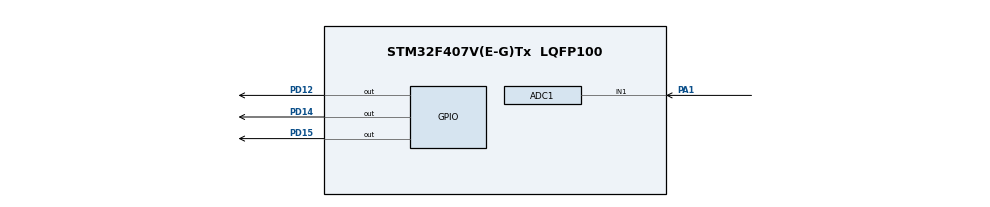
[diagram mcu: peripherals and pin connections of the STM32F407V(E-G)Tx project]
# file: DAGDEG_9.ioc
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ADC1.Channel-0\#ChannelRegularConversion=ADC_CHANNEL_1
ADC1.EnableAnalogWatchDog=true
ADC1.HighThreshold=200
ADC1.ITMode=ENABLE
ADC1.InjNumberOfConversion=0
ADC1.LowThreshold=50
ADC1.NbrOfConversion=1
ADC1.NbrOfConversionFlag=1
ADC1.Rank-0\#ChannelRegularConversion=1
ADC1.Resolution=ADC_RESOLUTION_8B
ADC1.SamplingTime-0\#ChannelRegularConversion=ADC_SAMPLETIME_28CYCLES
ADC1.WatchdogChannel=ADC_CHANNEL_1
ADC1.master=1
Mcu.Family=STM32F4
Mcu.Name=STM32F407V(E-G)Tx
Mcu.Package=LQFP100
NVIC.ADC_IRQn=true\:0\:0\:false\:true\:true\:1\:true\:true\:true
NVIC.PriorityGroup=NVIC_PRIORITYGROUP_0
PA1.Signal=ADCx_IN1
PD12.Signal=GPIO_Output
PD14.Signal=GPIO_Output
PD15.Signal=GPIO_Output
ProjectManager.HeapSize=0x200
ProjectManager.StackSize=0x400
ProjectManager.TargetToolchain=STM32CubeIDE
RCC.48MHZClocksFreq_Value=14285714.285714285
RCC.AHBFreq_Value=25000000
RCC.APB1CLKDivider=RCC_HCLK_DIV4
RCC.APB1Freq_Value=6250000
RCC.APB1TimFreq_Value=12500000
RCC.APB2CLKDivider=RCC_HCLK_DIV2
RCC.APB2Freq_Value=12500000
RCC.APB2TimFreq_Value=25000000
RCC.CortexFreq_Value=25000000
RCC.HCLKFreq_Value=25000000
RCC.HSE_VALUE=8000000
RCC.HSI_VALUE=16000000
RCC.LSE_VALUE=32768
RCC.PLLM=8
RCC.PLLN=50
RCC.PLLP=RCC_PLLP_DIV4
RCC.PLLQ=7
RCC.SYSCLKFreq_VALUE=25000000
RCC.SYSCLKSource=RCC_SYSCLKSOURCE_PLLCLK
RCC.VCOOutputFreq_Value=100000000
SH.ADCx_IN1.0=ADC1_IN1,IN1
board=STM32F407G-DISC1

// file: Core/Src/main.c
/* USER CODE BEGIN Header */
/**
 ******************************************************************************
 * @file           : main.c
 * @brief          : Main program body
 ******************************************************************************
 * @attention
 *
 * Copyright (c) 2025 STMicroelectronics.
 * All rights reserved.
 *
 * This software is licensed under terms that can be found in the LICENSE file
 * in the root directory of this software component.
 * If no LICENSE file comes with this software, it is provided AS-IS.
 *
 ******************************************************************************
 */
/* USER CODE END Header */
#include "main.h"

ADC_HandleTypeDef hadc1;

/* USER CODE BEGIN PV */
#define MAX 200
#define MIN 50
volatile uint8_t adcValue = 0;
/* USER CODE END PV */

void SystemClock_Config(void);
static void MX_GPIO_Init(void);
static void MX_ADC1_Init(void);
static void MX_NVIC_Init(void);
/* USER CODE BEGIN PFP */
volatile uint8_t state = 0;
/* USER CODE END PFP */

/* USER CODE BEGIN 0 */
void HAL_ADC_LevelOutOfWindowCallback(ADC_HandleTypeDef *hadc) {
	state = 1;

	/* USER CODE END 0 */
}
int main(void) {

	/* MCU Configuration--------------------------------------------------------*/

	/* Reset of all peripherals, Initializes the Flash interface and the Systick. */
	HAL_Init();

	/* Configure the system clock */
	SystemClock_Config();

	/* Initialize all configured peripherals */
	MX_GPIO_Init();
	MX_ADC1_Init();

	/* Initialize interrupts */
	MX_NVIC_Init();

	/* Infinite loop */
	/* USER CODE BEGIN WHILE */
	while (1) {
		HAL_ADC_Start(&hadc1);
		adcValue = HAL_ADC_GetValue(&hadc1);
		if (state == 1) {
			state = 0;
			if (adcValue < MIN) {
				// LED red is active when ADC value is under 50
				HAL_GPIO_WritePin(GPIOD, GPIO_PIN_12, GPIO_PIN_SET);
				HAL_GPIO_WritePin(GPIOD, GPIO_PIN_14, GPIO_PIN_RESET);
				HAL_GPIO_WritePin(GPIOD, GPIO_PIN_15, GPIO_PIN_RESET);
			} else if (adcValue > MAX) {
				// LED green is active when ADC value is over 200
				HAL_GPIO_WritePin(GPIOD, GPIO_PIN_12, GPIO_PIN_RESET);
				HAL_GPIO_WritePin(GPIOD, GPIO_PIN_14, GPIO_PIN_SET);
				HAL_GPIO_WritePin(GPIOD, GPIO_PIN_15, GPIO_PIN_RESET);
			}
		}
		else {
			if (adcValue < MAX && adcValue > MIN) {
				HAL_GPIO_WritePin(GPIOD, GPIO_PIN_12, GPIO_PIN_RESET);
				HAL_GPIO_WritePin(GPIOD, GPIO_PIN_14, GPIO_PIN_RESET);
				HAL_GPIO_WritePin(GPIOD, GPIO_PIN_15, GPIO_PIN_SET);
				// LED blue is active when ADC value is between 50 and 200
			}
			/* USER CODE END WHILE */

		}
	}
}

	/**
	 * @brief System Clock Configuration
	 * @retval None
	 */
	void SystemClock_Config(void) {
		RCC_OscInitTypeDef RCC_OscInitStruct = { 0 };
		RCC_ClkInitTypeDef RCC_ClkInitStruct = { 0 };

		/** Configure the main internal regulator output voltage
		 */
		__HAL_RCC_PWR_CLK_ENABLE();
		__HAL_PWR_VOLTAGESCALING_CONFIG(PWR_REGULATOR_VOLTAGE_SCALE1);

		/** Initializes the RCC Oscillators according to the specified parameters
		 * in the RCC_OscInitTypeDef structure.
		 */
		RCC_OscInitStruct.OscillatorType = RCC_OSCILLATORTYPE_HSI;
		RCC_OscInitStruct.HSIState = RCC_HSI_ON;
		RCC_OscInitStruct.HSICalibrationValue = RCC_HSICALIBRATION_DEFAULT;
		RCC_OscInitStruct.PLL.PLLState = RCC_PLL_ON;
		RCC_OscInitStruct.PLL.PLLSource = RCC_PLLSOURCE_HSI;
		RCC_OscInitStruct.PLL.PLLM = 8;
		RCC_OscInitStruct.PLL.PLLN = 50;
		RCC_OscInitStruct.PLL.PLLP = RCC_PLLP_DIV4;
		RCC_OscInitStruct.PLL.PLLQ = 7;
		if (HAL_RCC_OscConfig(&RCC_OscInitStruct) != HAL_OK) {
			Error_Handler();
		}

		/** Initializes the CPU, AHB and APB buses clocks
		 */
		RCC_ClkInitStruct.ClockType = RCC_CLOCKTYPE_HCLK | RCC_CLOCKTYPE_SYSCLK
				| RCC_CLOCKTYPE_PCLK1 | RCC_CLOCKTYPE_PCLK2;
		RCC_ClkInitStruct.SYSCLKSource = RCC_SYSCLKSOURCE_PLLCLK;
		RCC_ClkInitStruct.AHBCLKDivider = RCC_SYSCLK_DIV1;
		RCC_ClkInitStruct.APB1CLKDivider = RCC_HCLK_DIV4;
		RCC_ClkInitStruct.APB2CLKDivider = RCC_HCLK_DIV2;

		if (HAL_RCC_ClockConfig(&RCC_ClkInitStruct, FLASH_LATENCY_0)
				!= HAL_OK) {
			Error_Handler();
		}
	}

	/**
	 * @brief NVIC Configuration.
	 * @retval None
	 */
	static void MX_NVIC_Init(void) {
		/* ADC_IRQn interrupt configuration */
		HAL_NVIC_SetPriority(ADC_IRQn, 0, 0);
		HAL_NVIC_EnableIRQ(ADC_IRQn);
	}

	/**
	 * @brief ADC1 Initialization Function
	 * @param None
	 * @retval None
	 */
	static void MX_ADC1_Init(void) {

		ADC_AnalogWDGConfTypeDef AnalogWDGConfig = { 0 };
		ADC_ChannelConfTypeDef sConfig = { 0 };

		/** Configure the global features of the ADC (Clock, Resolution, Data Alignment and number of conversion)
		 */
		hadc1.Instance = ADC1;
		hadc1.Init.ClockPrescaler = ADC_CLOCK_SYNC_PCLK_DIV2;
		hadc1.Init.Resolution = ADC_RESOLUTION_8B;
		hadc1.Init.ScanConvMode = DISABLE;
		hadc1.Init.ContinuousConvMode = DISABLE;
		hadc1.Init.DiscontinuousConvMode = DISABLE;
		hadc1.Init.ExternalTrigConvEdge = ADC_EXTERNALTRIGCONVEDGE_NONE;
		hadc1.Init.ExternalTrigConv = ADC_SOFTWARE_START;
		hadc1.Init.DataAlign = ADC_DATAALIGN_RIGHT;
		hadc1.Init.NbrOfConversion = 1;
		hadc1.Init.DMAContinuousRequests = DISABLE;
		hadc1.Init.EOCSelection = ADC_EOC_SINGLE_CONV;
		if (HAL_ADC_Init(&hadc1) != HAL_OK) {
			Error_Handler();
		}

		/** Configure the analog watchdog
		 */
		AnalogWDGConfig.WatchdogMode = ADC_ANALOGWATCHDOG_SINGLE_REG;
		AnalogWDGConfig.HighThreshold = 200;
		AnalogWDGConfig.LowThreshold = 50;
		AnalogWDGConfig.Channel = ADC_CHANNEL_1;
		AnalogWDGConfig.ITMode = ENABLE;
		if (HAL_ADC_AnalogWDGConfig(&hadc1, &AnalogWDGConfig) != HAL_OK) {
			Error_Handler();
		}

		/** Configure for the selected ADC regular channel its corresponding rank in the sequencer and its sample time.
		 */
		sConfig.Channel = ADC_CHANNEL_1;
		sConfig.Rank = 1;
		sConfig.SamplingTime = ADC_SAMPLETIME_28CYCLES;
		if (HAL_ADC_ConfigChannel(&hadc1, &sConfig) != HAL_OK) {
			Error_Handler();
		}

	}

	/**
	 * @brief GPIO Initialization Function
	 * @param None
	 * @retval None
	 */
	static void MX_GPIO_Init(void) {
		GPIO_InitTypeDef GPIO_InitStruct = { 0 };

		/* GPIO Ports Clock Enable */
		__HAL_RCC_GPIOA_CLK_ENABLE();
		__HAL_RCC_GPIOD_CLK_ENABLE();

		/*Configure GPIO pin Output Level */
		HAL_GPIO_WritePin(GPIOD, GPIO_PIN_12 | GPIO_PIN_14 | GPIO_PIN_15,
				GPIO_PIN_RESET);

		/*Configure GPIO pins : PD12 PD14 PD15 */
		GPIO_InitStruct.Pin = GPIO_PIN_12 | GPIO_PIN_14 | GPIO_PIN_15;
		GPIO_InitStruct.Mode = GPIO_MODE_OUTPUT_PP;
		GPIO_InitStruct.Pull = GPIO_NOPULL;
		GPIO_InitStruct.Speed = GPIO_SPEED_FREQ_LOW;
		HAL_GPIO_Init(GPIOD, &GPIO_InitStruct);

	}

	/**
	 * @brief  This function is executed in case of error occurrence.
	 * @retval None
	 */
	void Error_Handler(void) {
		__disable_irq();
		while (1) {
		}
	}
